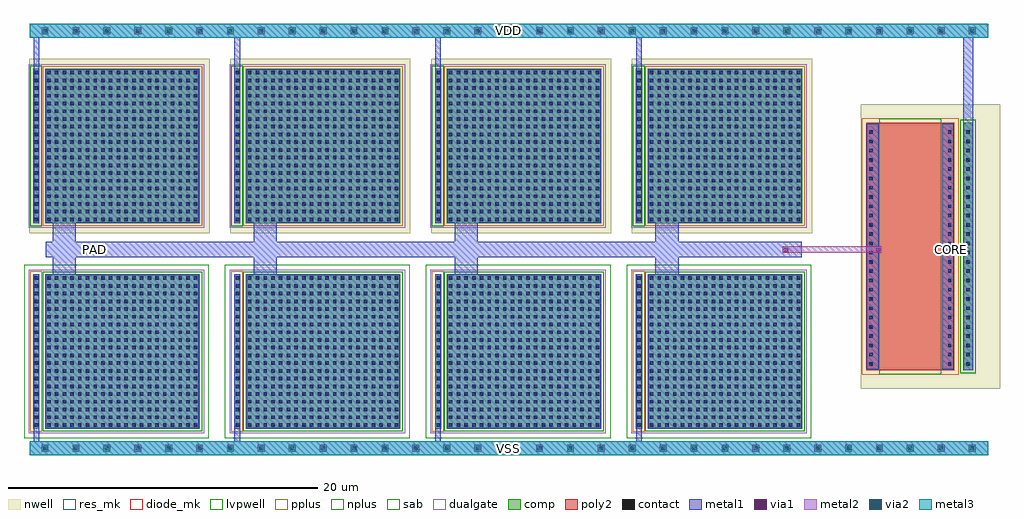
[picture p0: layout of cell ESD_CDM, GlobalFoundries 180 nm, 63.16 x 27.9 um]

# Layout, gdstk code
import gdstk
lib = gdstk.Library(unit=1e-6, precision=1e-09)
def R(c, l, rs):  # rectangles x0, y0, x1, y1
    for r in rs: c.add(gdstk.rectangle(r[:2], r[2:], *l))
def A(c, l, x, y, w, h, nx, ny, dx, dy):  # array of equal rectangles
    R(c, l, [(x+i*dx, y+j*dy, x+i*dx+w, y+j*dy+h) for i in range(nx) for j in range(ny)])
nwell = (21, 0)
comp = (22, 0)
poly2 = (30, 0)
pplus = (31, 0)
nplus = (32, 0)
contact = (33, 0)
metal1 = (34, 0)
via1 = (35, 0)
metal2 = (36, 0)
via2 = (38, 0)
metal3 = (42, 0)
sab = (49, 0)
dualgate = (55, 0)
res_mk = (110, 5)
diode_mk = (115, 5)
lvpwell = (204, 0)

esd_cdm = lib.new_cell('ESD_CDM')
A(esd_cdm, nwell, -0.02, 14.35, 11.67, 11.3, 4, 1, 13, 0)
A(esd_cdm, nwell, 0.3, 14.57, 11.13, 10.86, 4, 1, 13, 0)
R(esd_cdm, nwell, [(53.8,4.3,62.8,22.7)])
A(esd_cdm, comp, 0.24, 1.7, 0.4, 10, 4, 2, 13, 13.3)
A(esd_cdm, comp, 0.42, 1.7, 0.1, 10, 4, 2, 13, 13.3)
A(esd_cdm, comp, 1, 1.7, 10, 10, 4, 2, 13, 13.3)
A(esd_cdm, comp, 0.3, 1.78, 0.34, 9.84, 4, 2, 13, 13.3)
A(esd_cdm, comp, 1.08, 1.78, 9.84, 9.84, 4, 2, 13, 13.3)
R(esd_cdm, comp, [(60.44,5.5,61.04,21.5)])
R(esd_cdm, poly2, [(54.16,5.5,55,21.5), (54.56,5.5,59.44,21.5), (59,5.5,59.84,21.5), (54.61,5.58,54.95,21.42), (59.05,5.58,59.39,21.42)])
A(esd_cdm, pplus, 0.04, 1.5, 0.76, 10.4, 4, 1, 13, 0)
A(esd_cdm, pplus, 0.26, 1.54, 0.42, 10.32, 4, 1, 13, 0)
A(esd_cdm, pplus, 0.84, 14.84, 10.32, 10.32, 4, 1, 13, 0)
R(esd_cdm, pplus, [(53.86,5.2,60.14,21.8), (54.26,5.2,59.74,21.8)])
A(esd_cdm, nplus, 0.84, 1.54, 10.32, 10.32, 4, 1, 13, 0)
A(esd_cdm, nplus, 0.04, 14.8, 0.76, 10.4, 4, 1, 13, 0)
A(esd_cdm, nplus, 0.26, 14.84, 0.42, 10.32, 4, 1, 13, 0)
R(esd_cdm, nplus, [(60.24,5.3,61.24,21.7)])
A(esd_cdm, contact, 0.34, 1.84, 0.22, 0.22, 1, 20, 0, 0.5)
A(esd_cdm, contact, 1.14, 1.84, 0.22, 0.22, 20, 20, 0.5, 0.5)
A(esd_cdm, contact, 13.34, 1.84, 0.22, 0.22, 1, 20, 0, 0.5)
A(esd_cdm, contact, 14.14, 1.84, 0.22, 0.22, 20, 20, 0.5, 0.5)
A(esd_cdm, contact, 26.34, 1.84, 0.22, 0.22, 1, 20, 0, 0.5)
A(esd_cdm, contact, 27.14, 1.84, 0.22, 0.22, 20, 20, 0.5, 0.5)
A(esd_cdm, contact, 39.34, 1.84, 0.22, 0.22, 1, 20, 0, 0.5)
A(esd_cdm, contact, 40.14, 1.84, 0.22, 0.22, 20, 20, 0.5, 0.5)
A(esd_cdm, contact, 54.34, 5.79, 0.22, 0.22, 1, 26, 0, 0.6)
A(esd_cdm, contact, 59.44, 5.79, 0.22, 0.22, 1, 26, 0, 0.6)
A(esd_cdm, contact, 60.63, 5.79, 0.22, 0.22, 1, 26, 0, 0.6)
A(esd_cdm, contact, 0.34, 15.14, 0.22, 0.22, 1, 20, 0, 0.5)
A(esd_cdm, contact, 1.14, 15.14, 0.22, 0.22, 20, 20, 0.5, 0.5)
A(esd_cdm, contact, 13.34, 15.14, 0.22, 0.22, 1, 20, 0, 0.5)
A(esd_cdm, contact, 14.14, 15.14, 0.22, 0.22, 20, 20, 0.5, 0.5)
A(esd_cdm, contact, 26.34, 15.14, 0.22, 0.22, 1, 20, 0, 0.5)
A(esd_cdm, contact, 27.14, 15.14, 0.22, 0.22, 20, 20, 0.5, 0.5)
A(esd_cdm, contact, 39.34, 15.14, 0.22, 0.22, 1, 20, 0, 0.5)
A(esd_cdm, contact, 40.14, 15.14, 0.22, 0.22, 20, 20, 0.5, 0.5)
A(esd_cdm, metal1, 0.78, 0.23, 0.44, 0.44, 31, 2, 2, 27)
A(esd_cdm, metal1, 0.26, 0.9, 0.36, 10.8, 4, 1, 13, 0)
A(esd_cdm, metal1, 1.04, 1.74, 9.92, 9.92, 4, 2, 13, 13.3)
A(esd_cdm, metal1, 1.5, 11.66, 1.5, 2.14, 4, 1, 13, 0)
A(esd_cdm, metal1, 1.5, 12.8, 1.5, 2.24, 4, 1, 13, 0)
A(esd_cdm, metal1, 0.26, 15, 0.36, 12.9, 4, 1, 13, 0)
R(esd_cdm, metal1, [(0,0,62.04,0.9), (60.42,5.5,61.06,27.9), (54.18,5.55,54.94,21.45), (59.06,5.55,59.82,21.45), (1.04,12.8,49.96,13.8), (3.98,13.08,4.42,13.52), (48.74,13.08,49.18,13.52), (54.68,13.08,55.12,13.52), (59.42,13.08,59.86,13.52), (0,27,62.04,27.9)])
A(esd_cdm, via1, 0.87, 0.32, 0.26, 0.26, 31, 2, 2, 27)
R(esd_cdm, via1, [(4.07,13.17,4.33,13.43), (48.83,13.17,49.09,13.43), (54.77,13.17,55.03,13.43), (59.51,13.17,59.77,13.43)])
A(esd_cdm, metal2, 0.78, 0.23, 0.44, 0.44, 31, 2, 2, 27)
R(esd_cdm, metal2, [(3.98,13.08,4.42,13.52), (48.74,13.08,55.12,13.52), (59.42,13.08,59.86,13.52)])
A(esd_cdm, via2, 0.87, 0.32, 0.26, 0.26, 31, 2, 2, 27)
R(esd_cdm, via2, [(4.07,13.17,4.33,13.43), (59.51,13.17,59.77,13.43)])
A(esd_cdm, metal3, 0.78, 0.23, 0.44, 0.44, 31, 2, 2, 27)
R(esd_cdm, metal3, [(0,0,62.04,0.9), (3.98,13.08,4.42,13.52), (59.42,13.08,59.86,13.52), (0,27,62.04,27.9)])
R(esd_cdm, sab, [(55,5.22,59,21.78)])
A(esd_cdm, dualgate, -0.06, 1.4, 11.36, 10.6, 4, 2, 13, 13.3)
A(esd_cdm, dualgate, 0.18, 1.46, 11.06, 10.48, 4, 2, 13, 13.3)
R(esd_cdm, res_mk, [(55,5.5,59,21.5)])
A(esd_cdm, diode_mk, 1, 1.7, 10, 10, 4, 2, 13, 13.3)
A(esd_cdm, lvpwell, -0.36, 1.1, 11.96, 11.2, 4, 1, 13, 0)
esd_cdm.add(gdstk.Label('PAD', (4.2,13.3), layer=34, texttype=0))
esd_cdm.add(gdstk.Label('CORE', (59.64,13.3), layer=34, texttype=0))
esd_cdm.add(gdstk.Label('VSS', (31.02,0.45), layer=34, texttype=0))
esd_cdm.add(gdstk.Label('VDD', (31.02,27.45), layer=34, texttype=0))
esd_cdm.add(gdstk.Label('PAD', (4.2,13.3), layer=34, texttype=10))
esd_cdm.add(gdstk.Label('CORE', (59.64,13.3), layer=34, texttype=10))
esd_cdm.add(gdstk.Label('VSS', (31.02,0.45), layer=34, texttype=10))
esd_cdm.add(gdstk.Label('VDD', (31.02,27.45), layer=34, texttype=10))

lib.write_gds('ESD_CDM.gds')
